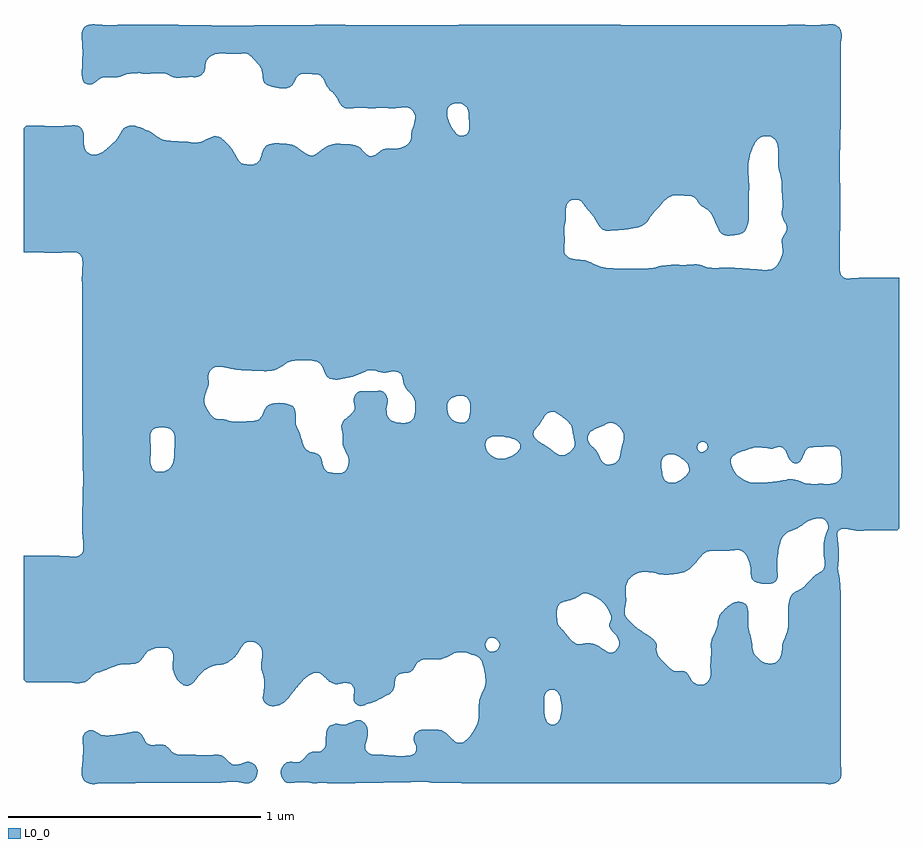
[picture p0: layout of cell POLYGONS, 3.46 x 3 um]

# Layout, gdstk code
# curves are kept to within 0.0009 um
import gdstk
lib = gdstk.Library(unit=1e-6, precision=1e-09)
def R(c, l, rs):  # rectangles x0, y0, x1, y1
    for r in rs: c.add(gdstk.rectangle(r[:2], r[2:], *l))
def P(c, l, *ps):  # polygons
    for p in ps: c.add(gdstk.Polygon(p, *l))
L0_0 = (0, 0)

polygons = lib.new_cell('POLYGONS')
R(polygons, L0_0, [(-0.67,-0.95,-0.522,-0.83), (-0.522,-0.95,-0.381,-0.83), (-0.381,-0.95,-0.22,-0.83), (-0.22,-0.95,-0.01,-0.83), (-0.381,-0.83,-0.22,-0.24), (-0.22,-0.83,-0.01,-0.24), (-0.01,-0.83,0.2,-0.24), (-0.381,-0.24,-0.22,-0.16), (-0.22,-0.24,-0.01,-0.16), (-0.381,-0.16,-0.22,-0.12), (-0.22,-0.16,-0.01,-0.12), (-1.3,0.02,-1.05,0.61)])
P(polygons, L0_0, [(-1.47,-1.501),(-1.45,-1.502),(-1.42,-1.499),(-0.95,-1.497),(-0.91,-1.493),(-0.89,-1.494),(-0.85,-1.501),(-0.84,-1.5),(-0.83,-1.495),(-0.82,-1.487),(-0.814,-1.48),(-0.809,-1.47),(-0.806,-1.45),(-0.81,-1.437),(-0.814,-1.43),(-0.82,-1.423),(-0.83,-1.417),(-0.84,-1.414),(-0.85,-1.414),(-0.86,-1.417),(-0.87,-1.422),(-0.89,-1.426),(-0.9,-1.425),(-0.912,-1.42),(-0.92,-1.414),(-0.94,-1.394),(-0.95,-1.388),(-0.96,-1.386),(-0.99,-1.388),(-1.04,-1.388),(-1.07,-1.386),(-1.11,-1.387),(-1.12,-1.386),(-1.13,-1.383),(-1.14,-1.378),(-1.17,-1.349),(-1.18,-1.346),(-1.2,-1.346),(-1.22,-1.348),(-1.23,-1.347),(-1.24,-1.343),(-1.245,-1.34),(-1.263,-1.31),(-1.27,-1.301),(-1.28,-1.296),(-1.29,-1.295),(-1.31,-1.297),(-1.33,-1.302),(-1.4,-1.311),(-1.42,-1.309),(-1.43,-1.305),(-1.45,-1.293),(-1.459,-1.29),(-1.471,-1.29),(-1.48,-1.293),(-1.489,-1.3),(-1.495,-1.31),(-1.498,-1.32),(-1.498,-1.33),(-1.495,-1.35),(-1.495,-1.37),(-1.497,-1.4),(-1.502,-1.44),(-1.502,-1.46),(-1.5,-1.474),(-1.492,-1.49),(-1.48,-1.498)],
  [(-1.499,1.476),(-1.5,1.474),(-1.501,1.47),(-1.502,1.46),(-1.502,1.45),(-1.501,1.44),(-1.5,1.432),(-1.5,1.43),(-1.499,1.424)],
  [(-1.499,1.352),(-1.499,1.35),(-1.5,1.34),(-1.5,1.336),(-1.5,1.33),(-1.501,1.32),(-1.501,1.31),(-1.501,1.3),(-1.5,1.293),(-1.5,1.29),(-1.499,1.289)],
  [(-1.72,0.599),(-1.71,0.6),(-1.65,0.599),(-1.528,0.6),(-1.52,0.598),(-1.51,0.593),(-1.501,0.58),(-1.499,0.573),(-1.499,1.084),(-1.51,1.096),(-1.52,1.101),(-1.54,1.102),(-1.58,1.099),(-1.72,1.1),(-1.73,1.09),(-1.73,0.6)],
  [(-1.499,0.528),(-1.5,0.52),(-1.5,0.518),(-1.5,0.51),(-1.501,0.5),(-1.501,0.49),(-1.5,0.48),(-1.5,0.471),(-1.5,0.47),(-1.5,0.46),(-1.499,0.45),(-1.499,0.442)],
  [(-1.499,0.429),(-1.499,0.42),(-1.5,0.41),(-1.5,0.04),(-1.499,0.03),(-1.499,0.01)],
  [(-1.499,-0.468),(-1.499,-0.47),(-1.5,-0.48),(-1.5,-0.482),(-1.5,-0.49),(-1.5,-0.5),(-1.5,-0.5),(-1.499,-0.509)],
  [(-1.72,-1.1),(-1.56,-1.099),(-1.53,-1.103),(-1.499,-1.102),(-1.499,-0.588),(-1.513,-0.6),(-1.53,-0.604),(-1.6,-0.599),(-1.66,-0.6),(-1.72,-0.599),(-1.73,-0.6),(-1.73,-1.09)],
  [(-1.46,1.265),(-1.43,1.286),(-1.421,1.29),(-1.4,1.293),(-1.37,1.292),(-1.35,1.294),(-1.32,1.306),(-1.3,1.308),(-1.3,1.5),(-1.41,1.499),(-1.46,1.502),(-1.47,1.501),(-1.48,1.498),(-1.492,1.49),(-1.499,1.476),(-1.498,1.4),(-1.499,1.289),(-1.497,1.28),(-1.49,1.269),(-1.48,1.264),(-1.47,1.263)],
  [(-1.3,1.101),(-1.31,1.101),(-1.32,1.099),(-1.33,1.094),(-1.34,1.085),(-1.355,1.06),(-1.37,1.04),(-1.401,1.01),(-1.42,0.996),(-1.432,0.99),(-1.45,0.987),(-1.46,0.987),(-1.47,0.99),(-1.48,0.996),(-1.484,1),(-1.49,1.01),(-1.494,1.04),(-1.493,1.05),(-1.494,1.07),(-1.499,1.084),(-1.499,0.61),(-1.3,0.61)],
  [(-1.3,0.61),(-1.499,0.61),(-1.498,0.56),(-1.499,0.54),(-1.499,0.02),(-1.3,0.02)],
  [(-1.498,-0.15),(-1.496,-0.32),(-1.499,-0.41),(-1.499,-0.51),(-1.495,-0.55),(-1.495,-0.57),(-1.496,-0.58),(-1.499,-0.588),(-1.499,-0.83),(-1.3,-0.83),(-1.3,0.02),(-1.499,0.02)],
  [(-1.493,-1.1),(-1.48,-1.094),(-1.46,-1.074),(-1.45,-1.066),(-1.44,-1.062),(-1.42,-1.057),(-1.36,-1.032),(-1.34,-1.029),(-1.3,-1.027),(-1.3,-0.83),(-1.499,-0.83),(-1.499,-1.102)],
  [(-1.28,1.309),(-1.26,1.307),(-1.23,1.307),(-1.2,1.309),(-1.18,1.308),(-1.17,1.306),(-1.14,1.293),(-1.12,1.29),(-1.07,1.294),(-1.05,1.293),(-1.05,1.499),(-1.3,1.5),(-1.3,1.308)],
  [(-1.05,1.034),(-1.06,1.034),(-1.08,1.037),(-1.143,1.04),(-1.18,1.046),(-1.19,1.05),(-1.2,1.056),(-1.218,1.07),(-1.237,1.08),(-1.27,1.094),(-1.29,1.1),(-1.3,1.101),(-1.3,0.61),(-1.05,0.61)],
  [(-1.05,0.02),(-1.3,0.02),(-1.3,-0.13),(-1.231,-0.13),(-1.23,-0.12),(-1.226,-0.11),(-1.218,-0.1),(-1.2,-0.093),(-1.18,-0.092),(-1.16,-0.096),(-1.15,-0.1),(-1.14,-0.11),(-1.136,-0.12),(-1.133,-0.14),(-1.136,-0.21),(-1.14,-0.23),(-1.144,-0.24),(-1.15,-0.25),(-1.16,-0.26),(-1.18,-0.267),(-1.19,-0.268),(-1.21,-0.265),(-1.218,-0.26),(-1.225,-0.25),(-1.228,-0.24),(-1.23,-0.23),(-1.228,-0.17),(-1.231,-0.13),(-1.3,-0.13),(-1.3,-0.83),(-1.05,-0.83)],
  [(-1.28,-1.023),(-1.27,-1.015),(-1.252,-0.99),(-1.24,-0.978),(-1.224,-0.97),(-1.21,-0.966),(-1.19,-0.963),(-1.18,-0.963),(-1.16,-0.966),(-1.15,-0.971),(-1.143,-0.98),(-1.14,-0.99),(-1.14,-1.01),(-1.142,-1.03),(-1.141,-1.05),(-1.13,-1.079),(-1.123,-1.09),(-1.115,-1.1),(-1.11,-1.104),(-1.1,-1.111),(-1.09,-1.114),(-1.08,-1.114),(-1.07,-1.11),(-1.06,-1.102),(-1.05,-1.089),(-1.05,-0.83),(-1.3,-0.83),(-1.3,-1.027),(-1.29,-1.026)],
  [(-1.04,1.295),(-1.03,1.3),(-1.02,1.311),(-1.015,1.32),(-1.013,1.33),(-1.012,1.35),(-1.008,1.36),(-0.999,1.37),(-0.99,1.377),(-0.98,1.382),(-0.97,1.385),(-0.95,1.387),(-0.93,1.386),(-0.86,1.387),(-0.85,1.385),(-0.84,1.381),(-0.83,1.373),(-0.83,1.497),(-0.98,1.497),(-1.05,1.499),(-1.05,1.293)],
  [(-0.83,0.947),(-0.86,0.949),(-0.87,0.953),(-0.878,0.96),(-0.902,1),(-0.92,1.024),(-0.95,1.053),(-0.96,1.058),(-0.97,1.06),(-0.98,1.059),(-0.99,1.056),(-1.024,1.04),(-1.04,1.035),(-1.05,1.034),(-1.05,0.61),(-0.83,0.61)],
  [(-1.016,0.03),(-1.005,0.06),(-1,0.079),(-1,0.09),(-1.002,0.1),(-1.002,0.11),(-1,0.12),(-0.995,0.13),(-0.99,0.136),(-0.98,0.143),(-0.97,0.147),(-0.95,0.147),(-0.89,0.136),(-0.86,0.133),(-0.83,0.132),(-0.83,0.61),(-1.05,0.61),(-1.05,0.02),(-1.017,0.02)],
  [(-0.83,-0.067),(-0.87,-0.07),(-0.89,-0.07),(-0.9,-0.069),(-0.94,-0.06),(-0.97,-0.058),(-0.984,-0.05),(-1,-0.031),(-1.012,-0.01),(-1.017,0.01),(-1.017,0.02),(-1.05,0.02),(-1.05,-0.83),(-0.83,-0.83)],
  [(-1.043,-1.08),(-1.02,-1.055),(-1,-1.042),(-0.98,-1.034),(-0.94,-1.028),(-0.923,-1.02),(-0.908,-1.01),(-0.897,-1),(-0.881,-0.98),(-0.87,-0.961),(-0.86,-0.948),(-0.844,-0.94),(-0.83,-0.939),(-0.83,-0.83),(-1.05,-0.83),(-1.05,-1.089)],
  [(-0.69,1.249),(-0.68,1.252),(-0.67,1.26),(-0.67,1.499),(-0.83,1.497),(-0.83,1.373),(-0.8,1.34),(-0.79,1.324),(-0.787,1.31),(-0.786,1.29),(-0.784,1.28),(-0.78,1.27),(-0.766,1.26),(-0.74,1.252),(-0.71,1.248)],
  [(-0.67,1.026),(-0.68,1.028),(-0.72,1.031),(-0.74,1.031),(-0.76,1.028),(-0.774,1.02),(-0.78,1.012),(-0.786,1),(-0.792,0.98),(-0.801,0.96),(-0.81,0.953),(-0.82,0.949),(-0.83,0.947),(-0.83,0.61),(-0.67,0.61)],
  [(-0.76,0.131),(-0.74,0.134),(-0.73,0.138),(-0.71,0.149),(-0.69,0.163),(-0.68,0.168),(-0.67,0.171),(-0.67,0.61),(-0.83,0.61),(-0.83,0.132),(-0.78,0.13)],
  [(-0.67,-0.007),(-0.68,-0.002),(-0.7,0.003),(-0.72,0.005),(-0.75,0.002),(-0.76,-0.002),(-0.771,-0.01),(-0.778,-0.02),(-0.79,-0.049),(-0.8,-0.06),(-0.81,-0.064),(-0.83,-0.067),(-0.83,-0.83),(-0.67,-0.83)],
  [(-0.795,-0.96),(-0.789,-0.97),(-0.787,-0.98),(-0.787,-0.99),(-0.792,-1.03),(-0.791,-1.05),(-0.784,-1.07),(-0.78,-1.09),(-0.779,-1.11),(-0.785,-1.16),(-0.784,-1.17),(-0.778,-1.18),(-0.77,-1.187),(-0.76,-1.192),(-0.75,-1.195),(-0.74,-1.195),(-0.72,-1.19),(-0.702,-1.18),(-0.69,-1.168),(-0.67,-1.144),(-0.67,-0.83),(-0.83,-0.83),(-0.83,-0.939),(-0.81,-0.946),(-0.8,-0.954)],
  [(-0.67,-1.498),(-0.67,-1.415),(-0.69,-1.416),(-0.7,-1.423),(-0.711,-1.44),(-0.714,-1.45),(-0.714,-1.46),(-0.712,-1.47),(-0.708,-1.48),(-0.7,-1.491),(-0.69,-1.497),(-0.68,-1.499)],
  [(-0.663,1.27),(-0.653,1.29),(-0.64,1.303),(-0.63,1.306),(-0.62,1.307),(-0.57,1.304),(-0.559,1.3),(-0.549,1.29),(-0.534,1.26),(-0.522,1.244),(-0.522,1.5),(-0.67,1.499),(-0.67,1.26)],
  [(-0.522,1.024),(-0.546,1.01),(-0.57,0.991),(-0.58,0.986),(-0.59,0.983),(-0.6,0.984),(-0.62,0.993),(-0.65,1.016),(-0.67,1.026),(-0.67,0.61),(-0.522,0.61)],
  [(-0.65,0.173),(-0.63,0.174),(-0.6,0.173),(-0.57,0.168),(-0.56,0.162),(-0.55,0.15),(-0.538,0.12),(-0.532,0.11),(-0.522,0.102),(-0.522,0.61),(-0.67,0.61),(-0.67,0.171)],
  [(-0.522,-0.27),(-0.53,-0.267),(-0.54,-0.259),(-0.545,-0.25),(-0.552,-0.22),(-0.56,-0.204),(-0.57,-0.196),(-0.594,-0.19),(-0.61,-0.183),(-0.614,-0.18),(-0.62,-0.172),(-0.626,-0.16),(-0.638,-0.12),(-0.652,-0.09),(-0.655,-0.08),(-0.656,-0.07),(-0.657,-0.03),(-0.66,-0.019),(-0.666,-0.01),(-0.67,-0.007),(-0.67,-0.83),(-0.522,-0.83)],
  [(-0.667,-1.14),(-0.643,-1.11),(-0.625,-1.09),(-0.61,-1.077),(-0.599,-1.07),(-0.58,-1.063),(-0.57,-1.062),(-0.56,-1.064),(-0.55,-1.07),(-0.522,-1.097),(-0.522,-0.95),(-0.67,-0.95),(-0.67,-1.144)],
  [(-0.65,-1.495),(-0.62,-1.495),(-0.59,-1.499),(-0.56,-1.498),(-0.522,-1.499),(-0.522,-1.274),(-0.53,-1.285),(-0.534,-1.3),(-0.537,-1.35),(-0.542,-1.36),(-0.55,-1.369),(-0.56,-1.374),(-0.57,-1.375),(-0.59,-1.374),(-0.6,-1.378),(-0.63,-1.408),(-0.64,-1.414),(-0.65,-1.416),(-0.67,-1.415),(-0.67,-1.498)],
  [(-0.44,1.169),(-0.4,1.172),(-0.381,1.171),(-0.381,1.499),(-0.522,1.5),(-0.522,1.244),(-0.5,1.222),(-0.492,1.21),(-0.482,1.19),(-0.47,1.175),(-0.46,1.17)],
  [(-0.381,0.992),(-0.4,1.013),(-0.41,1.02),(-0.42,1.024),(-0.44,1.027),(-0.46,1.027),(-0.49,1.03),(-0.51,1.028),(-0.522,1.024),(-0.522,0.61),(-0.381,0.61)],
  [(-0.48,0.098),(-0.426,0.11),(-0.4,0.12),(-0.381,0.129),(-0.381,0.61),(-0.522,0.61),(-0.522,0.102),(-0.51,0.098),(-0.5,0.097)],
  [(-0.47,-0.13),(-0.469,-0.16),(-0.462,-0.18),(-0.448,-0.21),(-0.446,-0.22),(-0.447,-0.24),(-0.45,-0.25),(-0.46,-0.265),(-0.47,-0.271),(-0.48,-0.273),(-0.5,-0.273),(-0.522,-0.27),(-0.522,-0.83),(-0.381,-0.83),(-0.381,0.051),(-0.4,0.051),(-0.41,0.047),(-0.418,0.04),(-0.424,0.03),(-0.427,0.01),(-0.422,-0.01),(-0.423,-0.02),(-0.428,-0.03),(-0.437,-0.04),(-0.46,-0.059),(-0.47,-0.07),(-0.474,-0.08),(-0.475,-0.09),(-0.471,-0.11)],
  [(-0.39,-1.193),(-0.381,-1.19),(-0.381,-0.95),(-0.522,-0.95),(-0.522,-1.097),(-0.51,-1.104),(-0.5,-1.107),(-0.49,-1.107),(-0.46,-1.102),(-0.45,-1.103),(-0.44,-1.106),(-0.434,-1.11),(-0.427,-1.12),(-0.424,-1.13),(-0.427,-1.17),(-0.422,-1.18),(-0.41,-1.191),(-0.4,-1.194)],
  [(-0.48,-1.499),(-0.381,-1.498),(-0.381,-1.264),(-0.39,-1.255),(-0.399,-1.25),(-0.41,-1.249),(-0.42,-1.251),(-0.46,-1.267),(-0.47,-1.268),(-0.49,-1.264),(-0.5,-1.264),(-0.517,-1.27),(-0.522,-1.274),(-0.522,-1.499)],
  [(-0.262,1.17),(-0.22,1.173),(-0.22,1.499),(-0.381,1.499),(-0.381,1.171),(-0.37,1.17),(-0.3,1.171),(-0.27,1.169)],
  [(-0.22,1.022),(-0.23,1.017),(-0.26,1.01),(-0.29,1.011),(-0.301,1.01),(-0.31,1.007),(-0.34,0.987),(-0.35,0.983),(-0.36,0.981),(-0.37,0.984),(-0.381,0.992),(-0.381,0.61),(-0.22,0.61)],
  [(-0.22,0.61),(-0.381,0.61),(-0.381,0.129),(-0.37,0.133),(-0.36,0.134),(-0.3,0.124),(-0.27,0.13),(-0.26,0.129),(-0.25,0.126),(-0.24,0.12),(-0.234,0.11),(-0.229,0.08),(-0.22,0.062)],
  [(-0.22,-0.074),(-0.23,-0.075),(-0.25,-0.073),(-0.27,-0.068),(-0.284,-0.06),(-0.29,-0.052),(-0.295,-0.04),(-0.297,-0.02),(-0.293,0),(-0.292,0.02),(-0.295,0.03),(-0.3,0.04),(-0.31,0.049),(-0.32,0.052),(-0.35,0.05),(-0.381,0.051),(-0.381,-0.12),(-0.22,-0.12)],
  [(-0.38,-1.189),(-0.34,-1.174),(-0.28,-1.143),(-0.269,-1.13),(-0.266,-1.12),(-0.262,-1.09),(-0.259,-1.08),(-0.251,-1.07),(-0.24,-1.066),(-0.22,-1.063),(-0.22,-0.95),(-0.381,-0.95),(-0.381,-1.19)],
  [(-0.38,-1.346),(-0.378,-1.34),(-0.375,-1.33),(-0.372,-1.32),(-0.371,-1.31),(-0.37,-1.3),(-0.37,-1.29),(-0.372,-1.28),(-0.376,-1.27),(-0.38,-1.265),(-0.381,-1.264),(-0.381,-1.348)],
  [(-0.38,-1.498),(-0.3,-1.496),(-0.22,-1.496),(-0.22,-1.391),(-0.25,-1.392),(-0.27,-1.391),(-0.29,-1.388),(-0.35,-1.386),(-0.36,-1.383),(-0.37,-1.377),(-0.376,-1.37),(-0.381,-1.36),(-0.381,-1.498)],
  [(-0.183,1.13),(-0.186,1.11),(-0.197,1.08),(-0.199,1.07),(-0.199,1.05),(-0.202,1.04),(-0.21,1.03),(-0.22,1.022),(-0.22,0.61),(-0.01,0.61),(-0.01,1.064),(-0.02,1.07),(-0.03,1.081),(-0.04,1.096),(-0.051,1.12),(-0.054,1.13),(-0.057,1.15),(-0.057,1.16),(-0.054,1.17),(-0.046,1.18),(-0.03,1.188),(-0.01,1.189),(-0.01,1.5),(-0.03,1.499),(-0.22,1.499),(-0.22,1.173),(-0.21,1.172),(-0.205,1.17),(-0.192,1.16),(-0.186,1.15),(-0.183,1.14)],
  [(-0.183,-0.03),(-0.184,-0.04),(-0.187,-0.05),(-0.192,-0.06),(-0.2,-0.068),(-0.21,-0.072),(-0.22,-0.074),(-0.22,-0.12),(-0.01,-0.12),(-0.01,-0.072),(-0.02,-0.07),(-0.03,-0.066),(-0.038,-0.06),(-0.047,-0.05),(-0.052,-0.04),(-0.057,-0.01),(-0.056,0),(-0.052,0.01),(-0.044,0.02),(-0.03,0.028),(-0.01,0.033),(-0.01,0.61),(-0.22,0.61),(-0.22,0.062),(-0.199,0.04),(-0.191,0.03),(-0.186,0.02),(-0.183,0.01),(-0.182,0)],
  [(-0.21,-1.062),(-0.2,-1.058),(-0.191,-1.05),(-0.18,-1.03),(-0.172,-1.02),(-0.16,-1.012),(-0.15,-1.009),(-0.14,-1.008),(-0.09,-1.01),(-0.08,-1.008),(-0.06,-1.001),(-0.03,-0.986),(-0.01,-0.981),(-0.01,-0.95),(-0.22,-0.95),(-0.22,-1.063)],
  [(-0.2,-1.496),(-0.01,-1.498),(-0.01,-1.338),(-0.02,-1.336),(-0.03,-1.331),(-0.06,-1.302),(-0.08,-1.289),(-0.09,-1.287),(-0.11,-1.288),(-0.15,-1.287),(-0.16,-1.288),(-0.17,-1.291),(-0.18,-1.299),(-0.186,-1.31),(-0.189,-1.32),(-0.188,-1.33),(-0.179,-1.35),(-0.178,-1.36),(-0.179,-1.37),(-0.185,-1.38),(-0.19,-1.384),(-0.2,-1.389),(-0.22,-1.391),(-0.22,-1.496)],
  [(0.2,1.5),(-0.01,1.5),(-0.01,1.189),(0,1.187),(0.01,1.182),(0.022,1.17),(0.026,1.16),(0.028,1.15),(0.031,1.11),(0.031,1.09),(0.029,1.08),(0.022,1.07),(0.01,1.063),(0,1.062),(-0.01,1.064),(-0.01,0.61),(0.2,0.61)],
  [(0.01,0.032),(0.02,0.027),(0.027,0.02),(0.032,0.01),(0.035,-0.01),(0.035,-0.03),(0.03,-0.054),(0.027,-0.06),(0.02,-0.068),(0.01,-0.073),(0,-0.074),(-0.01,-0.072),(-0.01,-0.12),(0.2,-0.12),(0.2,0.61),(-0.01,0.61),(-0.01,0.033)],
  [(0.095,-0.15),(0.1,-0.14),(0.11,-0.132),(0.12,-0.129),(0.15,-0.127),(0.17,-0.129),(0.2,-0.136),(0.2,-0.12),(-0.01,-0.12),(-0.01,-0.16),(0.094,-0.16)],
  [(0.2,-0.204),(0.17,-0.215),(0.15,-0.216),(0.14,-0.214),(0.13,-0.211),(0.12,-0.205),(0.113,-0.2),(0.104,-0.19),(0.098,-0.18),(0.095,-0.17),(0.094,-0.16),(-0.01,-0.16),(-0.01,-0.24),(0.2,-0.24)],
  [(0.01,-0.982),(0.02,-0.984),(0.06,-0.997),(0.07,-1.003),(0.077,-1.01),(0.08,-1.015),(0.085,-1.03),(0.09,-1.054),(0.093,-1.07),(0.095,-1.1),(0.092,-1.12),(0.08,-1.145),(0.071,-1.17),(0.069,-1.19),(0.069,-1.23),(0.067,-1.25),(0.06,-1.27),(0.05,-1.29),(0.036,-1.31),(0.02,-1.328),(0,-1.338),(-0.01,-1.338),(-0.01,-1.498),(0,-1.499),(0.2,-1.499),(0.2,-0.83),(-0.01,-0.83),(-0.01,-0.95),(0.094,-0.95),(0.097,-0.94),(0.104,-0.93),(0.11,-0.926),(0.12,-0.924),(0.13,-0.926),(0.139,-0.93),(0.148,-0.94),(0.151,-0.95),(0.15,-0.96),(0.14,-0.973),(0.13,-0.977),(0.12,-0.979),(0.11,-0.978),(0.1,-0.97),(0.095,-0.96),(0.094,-0.95),(-0.01,-0.95),(-0.01,-0.981)],
  [(0.406,0.62),(0.408,0.64),(0.406,0.69),(0.413,0.74),(0.414,0.78),(0.414,1.5),(0.2,1.5),(0.2,0.61),(0.406,0.61)],
  [(0.285,-0.11),(0.291,-0.1),(0.309,-0.08),(0.33,-0.046),(0.34,-0.036),(0.35,-0.032),(0.36,-0.031),(0.37,-0.033),(0.39,-0.044),(0.414,-0.062),(0.414,0.588),(0.411,0.59),(0.407,0.6),(0.406,0.61),(0.2,0.61),(0.2,-0.12),(0.284,-0.12)],
  [(0.414,-0.198),(0.4,-0.202),(0.39,-0.202),(0.38,-0.199),(0.37,-0.193),(0.342,-0.17),(0.3,-0.143),(0.288,-0.13),(0.284,-0.12),(0.2,-0.12),(0.2,-0.136),(0.212,-0.14),(0.227,-0.15),(0.232,-0.16),(0.233,-0.17),(0.229,-0.18),(0.221,-0.19),(0.2,-0.204),(0.2,-0.24),(0.414,-0.24)],
  [(0.376,-0.82),(0.38,-0.802),(0.388,-0.79),(0.4,-0.783),(0.41,-0.779),(0.414,-0.779),(0.414,-0.24),(0.2,-0.24),(0.2,-0.83),(0.376,-0.83)],
  [(0.39,-1.499),(0.414,-1.499),(0.414,-0.909),(0.388,-0.88),(0.381,-0.87),(0.378,-0.86),(0.376,-0.83),(0.2,-0.83),(0.2,-1.19),(0.327,-1.19),(0.328,-1.16),(0.33,-1.149),(0.335,-1.14),(0.34,-1.135),(0.35,-1.13),(0.36,-1.129),(0.37,-1.132),(0.38,-1.14),(0.386,-1.15),(0.391,-1.16),(0.396,-1.19),(0.396,-1.21),(0.391,-1.24),(0.379,-1.26),(0.37,-1.266),(0.36,-1.267),(0.35,-1.265),(0.342,-1.26),(0.335,-1.25),(0.331,-1.24),(0.329,-1.23),(0.327,-1.19),(0.2,-1.19),(0.2,-1.499)],
  [(0.42,0.795),(0.43,0.804),(0.44,0.808),(0.45,0.809),(0.46,0.808),(0.47,0.804),(0.48,0.795),(0.498,0.77),(0.515,0.75),(0.55,0.697),(0.56,0.689),(0.57,0.685),(0.58,0.685),(0.58,1.5),(0.414,1.5),(0.414,0.78),(0.417,0.79)],
  [(0.448,-0.15),(0.448,-0.16),(0.445,-0.17),(0.438,-0.18),(0.428,-0.19),(0.414,-0.198),(0.414,-0.24),(0.58,-0.24),(0.58,-0.239),(0.57,-0.238),(0.558,-0.23),(0.551,-0.22),(0.537,-0.19),(0.51,-0.16),(0.503,-0.15),(0.5,-0.141),(0.5,-0.129),(0.503,-0.12),(0.51,-0.11),(0.525,-0.1),(0.58,-0.076),(0.58,0.538),(0.55,0.544),(0.5,0.565),(0.49,0.568),(0.45,0.572),(0.43,0.577),(0.42,0.582),(0.414,0.588),(0.414,-0.062),(0.423,-0.07),(0.431,-0.08),(0.436,-0.09),(0.44,-0.117)],
  [(0.58,-0.24),(0.414,-0.24),(0.414,-0.779),(0.44,-0.772),(0.45,-0.768),(0.48,-0.749),(0.49,-0.748),(0.501,-0.75),(0.51,-0.753),(0.53,-0.763),(0.55,-0.776),(0.56,-0.785),(0.57,-0.797),(0.58,-0.813)],
  [(0.44,-1.499),(0.58,-1.499),(0.58,-0.982),(0.54,-0.956),(0.53,-0.951),(0.51,-0.945),(0.49,-0.945),(0.47,-0.95),(0.46,-0.949),(0.45,-0.946),(0.44,-0.94),(0.43,-0.93),(0.414,-0.909),(0.414,-1.499)],
  [(0.59,0.686),(0.67,0.693),(0.69,0.697),(0.71,0.704),(0.72,0.71),(0.732,0.72),(0.754,0.75),(0.77,0.768),(0.77,1.499),(0.58,1.5),(0.58,0.685)],
  [(0.6,-0.075),(0.61,-0.079),(0.62,-0.087),(0.632,-0.1),(0.642,-0.12),(0.641,-0.14),(0.633,-0.17),(0.625,-0.21),(0.62,-0.222),(0.612,-0.23),(0.6,-0.236),(0.58,-0.239),(0.58,-0.24),(0.77,-0.24),(0.77,0.542),(0.75,0.538),(0.73,0.536),(0.62,0.535),(0.58,0.538),(0.58,-0.076),(0.59,-0.073)],
  [(0.59,-0.832),(0.593,-0.84),(0.592,-0.85),(0.584,-0.87),(0.585,-0.88),(0.59,-0.89),(0.61,-0.912),(0.615,-0.92),(0.62,-0.929),(0.624,-0.95),(0.62,-0.962),(0.61,-0.975),(0.6,-0.982),(0.59,-0.984),(0.58,-0.982),(0.58,-1.499),(0.77,-1.499),(0.77,-0.946),(0.767,-0.94),(0.759,-0.93),(0.73,-0.909),(0.7,-0.891),(0.69,-0.883),(0.657,-0.85),(0.65,-0.84),(0.646,-0.83),(0.645,-0.82),(0.651,-0.78),(0.649,-0.74),(0.65,-0.72),(0.653,-0.71),(0.66,-0.695),(0.68,-0.677),(0.7,-0.666),(0.71,-0.664),(0.73,-0.663),(0.75,-0.665),(0.77,-0.669),(0.77,-0.24),(0.58,-0.24),(0.58,-0.813),(0.585,-0.82)],
  [(0.772,0.77),(0.798,0.8),(0.81,0.811),(0.82,0.818),(0.84,0.825),(0.85,0.826),(0.91,0.822),(0.92,0.817),(0.928,0.81),(0.942,0.79),(0.942,1.499),(0.77,1.499),(0.77,0.768)],
  [(0.935,-0.16),(0.942,-0.152),(0.942,0.551),(0.93,0.553),(0.88,0.55),(0.83,0.551),(0.81,0.55),(0.78,0.545),(0.77,0.542),(0.77,-0.17),(0.932,-0.17)],
  [(0.896,-0.24),(0.899,-0.25),(0.9,-0.261),(0.898,-0.27),(0.891,-0.28),(0.87,-0.297),(0.85,-0.308),(0.84,-0.311),(0.82,-0.31),(0.803,-0.3),(0.797,-0.29),(0.794,-0.28),(0.789,-0.24),(0.77,-0.24),(0.77,-0.669),(0.78,-0.672),(0.8,-0.674),(0.82,-0.674),(0.85,-0.671),(0.88,-0.664),(0.9,-0.652),(0.914,-0.64),(0.924,-0.63),(0.942,-0.608),(0.942,-0.188),(0.934,-0.18),(0.932,-0.17),(0.77,-0.17),(0.77,-0.24),(0.789,-0.24),(0.792,-0.22),(0.798,-0.21),(0.81,-0.202),(0.82,-0.199),(0.83,-0.198),(0.84,-0.199),(0.85,-0.202),(0.864,-0.21),(0.878,-0.22),(0.889,-0.23)],
  [(0.79,-1.499),(0.942,-1.499),(0.942,-1.109),(0.93,-1.107),(0.917,-1.1),(0.91,-1.093),(0.897,-1.07),(0.888,-1.06),(0.88,-1.056),(0.87,-1.054),(0.85,-1.057),(0.84,-1.055),(0.82,-1.041),(0.789,-1.01),(0.781,-1),(0.772,-0.98),(0.771,-0.97),(0.772,-0.95),(0.77,-0.946),(0.77,-1.499)],
  [(1.06,0.666),(1.09,0.669),(1.11,0.676),(1.12,0.684),(1.12,1.499),(0.942,1.499),(0.942,0.79),(0.95,0.782),(0.97,0.771),(0.98,0.762),(0.989,0.75),(1,0.73),(1.017,0.69),(1.023,0.68),(1.03,0.673),(1.04,0.667),(1.05,0.665)],
  [(1.065,-0.22),(1.069,-0.21),(1.08,-0.2),(1.1,-0.19),(1.12,-0.184),(1.12,0.536),(1.06,0.54),(1,0.538),(0.97,0.542),(0.95,0.55),(0.942,0.551),(0.942,-0.152),(0.95,-0.148),(0.96,-0.149),(0.97,-0.157),(0.972,-0.16),(0.974,-0.17),(0.97,-0.18),(0.96,-0.187),(0.951,-0.19),(0.942,-0.188),(0.942,-0.23),(1.065,-0.23)],
  [(0.949,-0.6),(0.959,-0.59),(0.97,-0.584),(0.98,-0.581),(1,-0.579),(1.04,-0.58),(1.09,-0.576),(1.11,-0.581),(1.12,-0.59),(1.12,-0.301),(1.101,-0.29),(1.09,-0.281),(1.081,-0.27),(1.07,-0.25),(1.066,-0.24),(1.065,-0.23),(0.942,-0.23),(0.942,-0.608)],
  [(1.08,-1.5),(1.12,-1.5),(1.12,-0.789),(1.11,-0.783),(1.1,-0.781),(1.09,-0.781),(1.08,-0.783),(1.07,-0.788),(1.04,-0.811),(1.03,-0.822),(1.02,-0.837),(1.015,-0.85),(1.013,-0.87),(1.008,-0.89),(0.99,-0.93),(0.985,-0.95),(0.987,-0.97),(0.987,-0.99),(0.984,-1.03),(0.986,-1.06),(0.986,-1.07),(0.984,-1.08),(0.98,-1.09),(0.972,-1.1),(0.96,-1.107),(0.942,-1.109),(0.942,-1.499)],
  [(1.124,0.69),(1.13,0.705),(1.135,0.73),(1.136,0.75),(1.137,0.87),(1.134,0.91),(1.134,0.95),(1.137,0.97),(1.142,0.99),(1.149,1.01),(1.16,1.033),(1.17,1.046),(1.18,1.054),(1.19,1.058),(1.2,1.06),(1.22,1.059),(1.23,1.054),(1.244,1.04),(1.248,1.029),(1.248,1.499),(1.12,1.499),(1.12,0.684)],
  [(1.13,-0.18),(1.16,-0.171),(1.17,-0.17),(1.22,-0.176),(1.23,-0.176),(1.248,-0.17),(1.248,0.55),(1.24,0.542),(1.23,0.535),(1.22,0.532),(1.2,0.53),(1.12,0.536),(1.12,-0.184)],
  [(1.22,-0.711),(1.23,-0.708),(1.24,-0.702),(1.248,-0.69),(1.248,-0.305),(1.203,-0.31),(1.17,-0.311),(1.15,-0.31),(1.14,-0.308),(1.12,-0.301),(1.12,-0.59),(1.132,-0.61),(1.139,-0.63),(1.143,-0.65),(1.145,-0.68),(1.15,-0.693),(1.16,-0.702),(1.18,-0.709),(1.2,-0.711)],
  [(1.13,-1.5),(1.24,-1.5),(1.248,-1.499),(1.248,-1.017),(1.24,-1.022),(1.23,-1.025),(1.22,-1.026),(1.21,-1.025),(1.2,-1.022),(1.19,-1.018),(1.18,-1.011),(1.16,-0.99),(1.154,-0.98),(1.151,-0.97),(1.148,-0.94),(1.134,-0.88),(1.132,-0.81),(1.129,-0.8),(1.12,-0.789),(1.12,-1.5)],
  [(1.33,-0.234),(1.34,-0.225),(1.349,-0.21),(1.36,-0.184),(1.36,1.5),(1.248,1.499),(1.248,1.029),(1.251,1.02),(1.253,1),(1.252,0.96),(1.253,0.94),(1.26,0.91),(1.267,0.87),(1.267,0.84),(1.27,0.803),(1.27,0.78),(1.266,0.76),(1.266,0.75),(1.27,0.737),(1.284,0.71),(1.287,0.7),(1.287,0.69),(1.283,0.68),(1.27,0.66),(1.266,0.65),(1.266,0.64),(1.27,0.61),(1.269,0.59),(1.26,0.568),(1.248,0.55),(1.248,-0.17),(1.26,-0.169),(1.27,-0.172),(1.279,-0.18),(1.292,-0.21),(1.298,-0.22),(1.31,-0.231),(1.32,-0.235)],
  [(1.249,-0.61),(1.257,-0.56),(1.263,-0.54),(1.27,-0.525),(1.285,-0.51),(1.3,-0.502),(1.33,-0.49),(1.36,-0.47),(1.36,-0.312),(1.33,-0.301),(1.31,-0.298),(1.29,-0.298),(1.248,-0.305),(1.248,-0.62)],
  [(1.249,-0.69),(1.25,-0.682),(1.25,-0.68),(1.25,-0.67),(1.25,-0.67),(1.249,-0.66),(1.248,-0.652),(1.248,-0.69)],
  [(1.33,-1.5),(1.36,-1.499),(1.36,-0.717),(1.344,-0.73),(1.323,-0.74),(1.31,-0.75),(1.302,-0.76),(1.298,-0.77),(1.293,-0.79),(1.291,-0.81),(1.292,-0.88),(1.29,-0.891),(1.288,-0.9),(1.27,-0.946),(1.265,-0.99),(1.255,-1.01),(1.248,-1.017),(1.248,-1.499)],
  [(1.37,-0.175),(1.38,-0.171),(1.4,-0.169),(1.42,-0.169),(1.45,-0.166),(1.47,-0.167),(1.48,-0.17),(1.49,-0.177),(1.493,-0.18),(1.497,-0.189),(1.497,0.521),(1.495,0.54),(1.497,0.69),(1.497,0.87),(1.495,0.92),(1.495,0.98),(1.497,1.01),(1.497,1.483),(1.49,1.493),(1.48,1.499),(1.47,1.502),(1.46,1.503),(1.41,1.499),(1.36,1.5),(1.36,-0.184)],
  [(1.378,-0.46),(1.39,-0.455),(1.41,-0.451),(1.42,-0.451),(1.43,-0.454),(1.438,-0.46),(1.446,-0.47),(1.45,-0.48),(1.45,-0.49),(1.44,-0.516),(1.433,-0.55),(1.432,-0.58),(1.433,-0.6),(1.436,-0.62),(1.436,-0.64),(1.433,-0.65),(1.424,-0.66),(1.4,-0.675),(1.39,-0.683),(1.36,-0.717),(1.36,-1.499),(1.42,-1.499),(1.46,-1.502),(1.47,-1.501),(1.48,-1.498),(1.49,-1.492),(1.497,-1.482),(1.497,-0.71),(1.495,-0.69),(1.488,-0.65),(1.491,-0.62),(1.492,-0.58),(1.486,-0.52),(1.486,-0.51),(1.49,-0.5),(1.497,-0.496),(1.497,-0.296),(1.49,-0.304),(1.48,-0.31),(1.46,-0.315),(1.39,-0.316),(1.36,-0.312),(1.36,-0.47)],
  [(1.498,1.04),(1.498,1.08),(1.499,1.09),(1.499,1.27),(1.5,1.28),(1.5,1.36),(1.499,1.37),(1.499,1.41),(1.5,1.42),(1.5,1.43),(1.502,1.44),(1.503,1.45),(1.503,1.46),(1.502,1.47),(1.499,1.48),(1.497,1.483),(1.497,1.035)],
  [(1.58,-0.5),(1.62,-0.498),(1.72,-0.5),(1.73,-0.49),(1.73,0.5),(1.57,0.499),(1.53,0.496),(1.52,0.497),(1.51,0.501),(1.5,0.513),(1.497,0.521),(1.497,-0.189),(1.501,-0.21),(1.503,-0.25),(1.503,-0.27),(1.501,-0.29),(1.497,-0.296),(1.497,-0.496),(1.51,-0.493),(1.52,-0.493),(1.53,-0.494),(1.55,-0.499)],
  [(1.499,-1.48),(1.501,-1.47),(1.502,-1.46),(1.502,-1.45),(1.499,-1.42),(1.499,-1.23),(1.5,-1.2),(1.5,-0.82),(1.499,-0.81),(1.499,-0.74),(1.498,-0.73),(1.498,-0.72),(1.497,-0.711),(1.497,-1.482)])

lib.write_gds('POLYGONS.gds')
